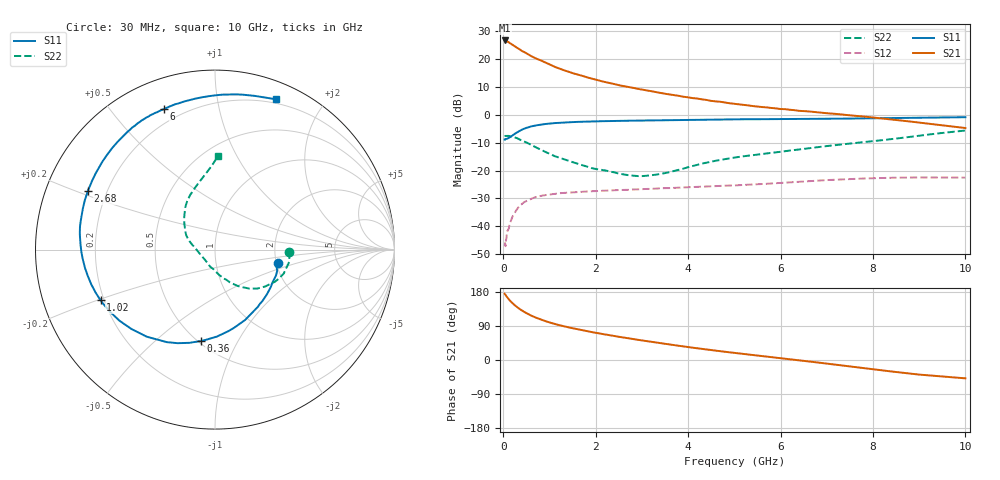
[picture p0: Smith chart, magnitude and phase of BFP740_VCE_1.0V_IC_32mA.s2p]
! Infineon Technologies  Discrete & RF Semiconductors
! BFP740
! VCE =  1.0 V,  IC =  32 mA
! Common Emitter S-Parameters:  Jan 2016
# GHz  S  MA  R  50
!  f  S11  S21  S12  S22
! GHz  MAG  ANG  MAG  ANG  MAG  ANG  MAG  ANG
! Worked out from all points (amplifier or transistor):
!   229 points, 30 MHz to 10 GHz, reference 50 ohm
!   highest |S21| = 26.6 dB at 30 MHz (marker M1)
!   |S21| within 3 dB of that: start of sweep to 338.4 MHz
!   unconditionally stable (mu >= 1): start of sweep to 335.4 MHz; 1.509 GHz to end of sweep
!   at 280 MHz: K = 1.11, MAG = 27.2 dB, |S12| = -34.3 dB
!   at 1.78 GHz: K = 1.08, MAG = 18.8 dB, |S12| = -27.6 dB
!   at 10 GHz: K = 1.94, MAG = 3.3 dB, |S12| = -22.5 dB
!   S11 on the Smith chart (normalised r, x): 30 MHz: 2.04, -0.34; 360 MHz: 0.51, -0.71; 1.02 GHz: 0.19, -0.20; 2.68 GHz: 0.13, +0.21; 6 GHz: 0.13, +0.69; 10 GHz: 0.16, +1.47
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0.03  0.358 -11.7  21.45 175.0  0.0045 32.3  0.4141 -1.7
0.04  0.3566 -15.6  21.11 173.3  0.005 39.6  0.4164 -2.9
0.05  0.3659 -18.8  21.43 171.8  0.0044 58.7  0.4171 -4.2
0.11  0.3817 -40.5  20.25 161.7  0.0089 53.0  0.4178 -10.1
0.14  0.3924 -50.4  19.23 157.4  0.0113 51.8  0.413 -13.1
0.19  0.4192 -64.3  18.17 151.0  0.0142 56.4  0.4064 -18.1
0.26  0.4605 -80.7  16.66 143.5  0.0181 54.5  0.3901 -24.6
0.36  0.5159 -99.0  14.78 134.2  0.0234 49.4  0.3578 -33.1
0.4  0.5385 -105.3  13.95 130.9  0.0248 47.4  0.3474 -36.2
0.5  0.5813 -117.5  12.67 123.7  0.0283 43.4  0.3192 -42.9
0.6  0.6166 -128.1  11.28 117.4  0.031 38.9  0.2889 -48.7
0.8  0.6635 -143.3  9.531 107.2  0.0349 32.8  0.2396 -57.9
1.02  0.6973 -156.1  7.825 98.4  0.0373 27.9  0.1967 -66.2
1.3  0.724 -168.4  6.307 89.3  0.0396 24.0  0.1597 -75.1
1.7  0.7486 178.6  5.013 78.8  0.0416 20.3  0.1251 -86.7
2.68  0.7798 155.4  3.156 57.8  0.045 15.8  0.0831 -123.8
3.4  0.7963 141.9  2.461 44.5  0.0479 13.8  0.0868 -163.1
5.1  0.8276 118.5  1.54 17.4  0.0546 10.0  0.1753 154.6
6  0.8338 110.0  1.264 4.9  0.0601 8.0  0.2167 141.4
6.8  0.8428 101.9  1.103 -6.5  0.0658 3.8  0.2615 130.5
8.4  0.8726 82.3  0.824 -30.3  0.0741 -7.9  0.3653 107.2
10  0.9027 68.0  0.577 -48.4  0.0746 -17.5  0.5204 88.4
